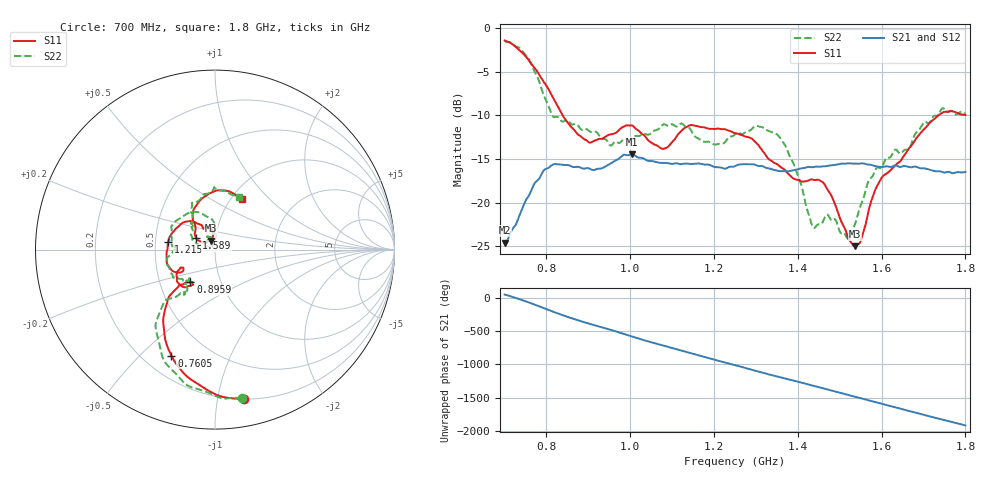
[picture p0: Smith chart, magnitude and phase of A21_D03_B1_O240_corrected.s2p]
! Created with skrf 1.9.0 (http://scikit-rf.org).
# Hz S RI R 50.0
!freq ReS11 ImS11 ReS21 ImS21 ReS12 ImS12 ReS22 ImS22
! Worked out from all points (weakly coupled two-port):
!   1601 points, 700 MHz to 1.8 GHz, reference 50 ohm
!   highest |S21| = -14.46 dB at 1.004 GHz (marker M1); lowest = -24.6 dB at 701.4 MHz (marker M2)
!   lowest |S11| = -25.0 dB at 1.536 GHz (marker M3), VSWR 1.12, Z = 47.3 + j4.8 ohm
!   |S11| at or under -10 dB: 838.6 MHz to 1.736 GHz (897 MHz wide, 69.7 % of centre)
!   |S22| runs from -24.2 to -1.5 dB; largest |S21 - S12| = 0.0036
!   S11 on the Smith chart (normalised r, x): 700 MHz: 0.20, -1.19; 760.5 MHz: 0.31, -0.62; 895.9 MHz: 0.72, -0.27; 1.215 GHz: 0.58, +0.05; 1.589 GHz: 0.80, +0.11; 1.8 GHz: 1.13, +0.70
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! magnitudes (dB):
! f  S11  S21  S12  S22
! 700 MHz  -1.4  -24.6  -24.3  -1.5
! 701.4 MHz  -1.5  -24.6  -24.2  -1.5
! 760.5 MHz  -3.9  -19.0  -18.8  -3.8
! 814.8 MHz  -7.9  -15.6  -15.7  -10.1
! 883.6 MHz  -12.5  -16.0  -15.9  -11.6
! 895.9 MHz  -12.9  -16.0  -16.1  -11.6
! 953 MHz  -12.2  -15.5  -15.5  -13.5
! 1.004 GHz  -11.2  -14.5  -14.6  -12.6
! 1.067 GHz  -13.6  -15.4  -15.3  -11.6
! 1.142 GHz  -11.1  -15.6  -15.5  -11.5
! 1.215 GHz  -11.6  -16.0  -16.0  -13.2
! 1.25 GHz  -12.0  -15.8  -15.7  -12.2
! 1.355 GHz  -15.8  -16.4  -16.3  -12.4
! 1.394 GHz  -17.3  -16.3  -16.2  -16.0
! 1.434 GHz  -17.3  -15.9  -15.9  -22.6
! 1.465 GHz  -18.0  -15.8  -15.8  -21.6
! 1.52 GHz  -23.9  -15.5  -15.5  -24.2
! 1.536 GHz  -25.0  -15.5  -15.5  -22.6
! 1.589 GHz  -18.1  -15.9  -15.9  -16.0
! 1.617 GHz  -16.5  -15.9  -15.8  -14.9
! 1.738 GHz  -9.9  -16.4  -16.5  -9.7
! 1.8 GHz  -9.9  -16.5  -16.5  -9.8
